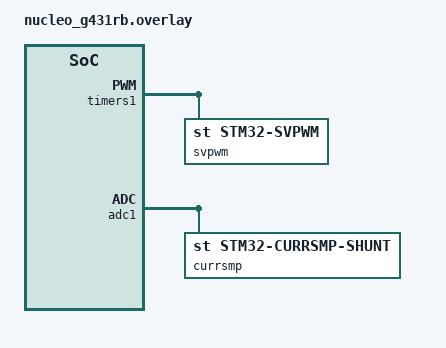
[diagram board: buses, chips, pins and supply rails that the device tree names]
/*
 * Copyright (c) 2021 Teslabs Engineering S.L.
 *
 * SPDX-License-Identifier: Apache-2.0
 */

#include <dts-bindings/adc/stm32g4xx.h>

&timers1 {
	svpwm: svpwm {
		compatible = "st,stm32-svpwm";
		currsmp = <&currsmp>;
	};
};

&adc1 {
	currsmp: currsmp {
		compatible = "st,stm32-currsmp-shunt";

		adc-resolution = <12>;
		adc-tsample = <3>;
		adc-trigger = <STM32_ADC12_INJ_TRIG_TIM1_TRGO>;
	};
};

&timers2 {
	feedback: feedback {
		compatible = "st,stm32-halls";
		phase-shift = <60>;
	};
};
